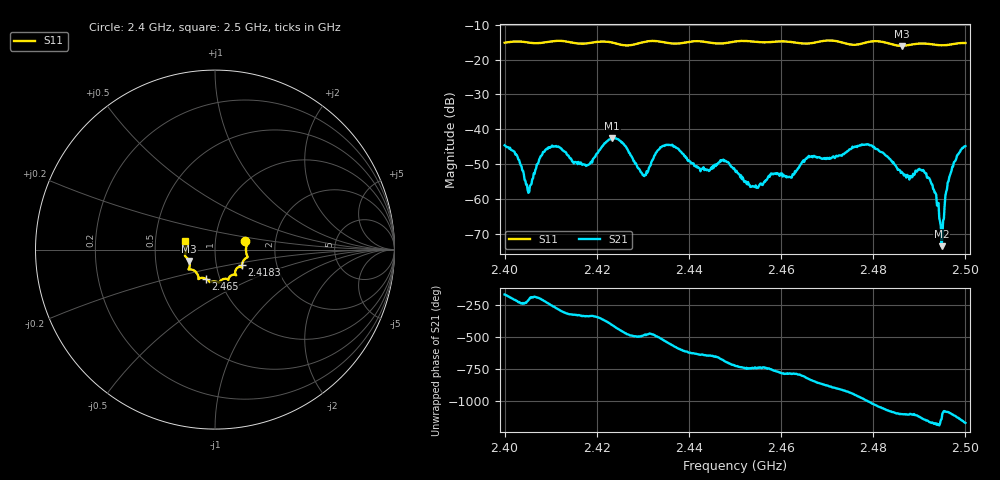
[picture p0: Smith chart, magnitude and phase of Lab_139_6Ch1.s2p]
# Hz S RI R 50
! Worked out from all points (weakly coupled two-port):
!   601 points, 2.4 GHz to 2.5 GHz, reference 50 ohm
!   highest |S21| = -42.55 dB at 2.4233 GHz (marker M1); lowest = -73.6 dB at 2.4948 GHz (marker M2)
!   lowest |S11| = -16.0 dB at 2.4862 GHz (marker M3), VSWR 1.38, Z = 37.1 - j4.8 ohm
!   |S11| at or under -10 dB: start of sweep to end of sweep
!   S12 and S22 are empty: the file has one direction only
!   S11 on the Smith chart (normalised r, x): 2.4 GHz: 1.40, +0.13; 2.4183 GHz: 1.33, -0.24; 2.465 GHz: 0.86, -0.29; 2.5 GHz: 0.71, +0.07
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2.4e9  0.1691 0.0455  -0.00582 -0.000769  0 0  0 0
2.402667e9  0.1795 0.0335  -0.00316 0.00281  0 0  0 0
2.405167e9  0.1753 0.0172  -0.000995 0.000703  0 0  0 0
2.41e9  0.1791 -0.0346  -0.00152 0.00535  0 0  0 0
2.416667e9  0.1549 -0.0684  0.00299 0.00126  0 0  0 0
2.418333e9  0.1499 -0.0869  0.00297 0.000982  0 0  0 0
2.423333e9  0.1473 -0.0972  0.00484 -0.00568  0 0  0 0
2.430167e9  0.1141 -0.138  -0.00141 -0.00169  0 0  0 0
2.433333e9  0.1168 -0.1414  -0.00407 -0.00296  0 0  0 0
2.45e9  0.0252 -0.1807  0.00255 -0.000303  0 0  0 0
2.454667e9  0.00994 -0.1794  0.00129 -0.000637  0 0  0 0
2.462333e9  -0.0337 -0.1757  0.000711 -0.0019  0 0  0 0
2.465e9  -0.0528 -0.1619  -7.84e-05 -0.00338  0 0  0 0
2.466667e9  -0.0712 -0.1575  -0.002 -0.00359  0 0  0 0
2.4785e9  -0.1378 -0.1104  0.000755 0.00596  0 0  0 0
2.483333e9  -0.1419 -0.096  0.00389 0.0003  0 0  0 0
2.486167e9  -0.1448 -0.0632  0.00225 -0.000926  0 0  0 0
2.491333e9  -0.1671 -0.0316  0.000889 -0.00216  0 0  0 0
2.493167e9  -0.1638 -0.0177  -0.000193 -0.00134  0 0  0 0
2.494833e9  -0.1607 0.0021  9.86e-05 -0.000184  0 0  0 0
2.496667e9  -0.163 0.024  0.00214 -0.000551  0 0  0 0
2.5e9  -0.1668 0.0476  -9.31e-05 -0.00571  0 0  0 0
